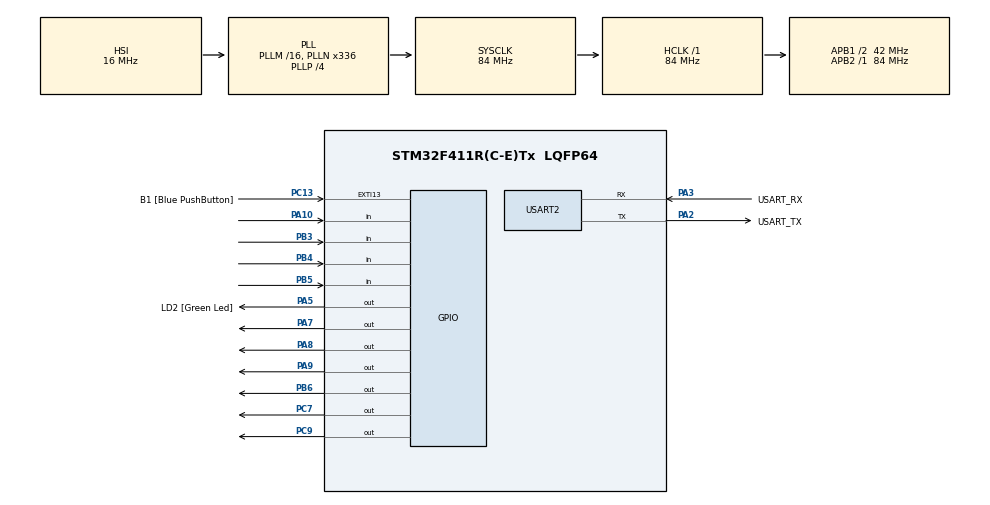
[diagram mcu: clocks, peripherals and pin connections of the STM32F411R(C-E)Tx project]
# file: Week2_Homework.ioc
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Mcu.Family=STM32F4
Mcu.Name=STM32F411R(C-E)Tx
Mcu.Package=LQFP64
NVIC.PriorityGroup=NVIC_PRIORITYGROUP_0
PA10.GPIO_PuPd=GPIO_PULLUP
PA10.Signal=GPIO_Input
PA13.GPIO_Label=TMS
PA13.Mode=Serial_Wire
PA13.Signal=SYS_JTMS-SWDIO
PA14.GPIO_Label=TCK
PA14.Mode=Serial_Wire
PA14.Signal=SYS_JTCK-SWCLK
PA2.GPIO_Label=USART_TX
PA2.Mode=Asynchronous
PA2.Signal=USART2_TX
PA3.GPIO_Label=USART_RX
PA3.Mode=Asynchronous
PA3.Signal=USART2_RX
PA5.GPIO_Label=LD2 [Green Led]
PA5.GPIO_ModeDefaultOutputPP=GPIO_MODE_OUTPUT_OD
PA5.PinState=GPIO_PIN_SET
PA5.Signal=GPIO_Output
PA7.GPIO_ModeDefaultOutputPP=GPIO_MODE_OUTPUT_OD
PA7.PinState=GPIO_PIN_SET
PA7.Signal=GPIO_Output
PA8.Signal=GPIO_Output
PA9.GPIO_ModeDefaultOutputPP=GPIO_MODE_OUTPUT_OD
PA9.PinState=GPIO_PIN_SET
PA9.Signal=GPIO_Output
PB3.GPIO_PuPd=GPIO_PULLUP
PB3.Signal=GPIO_Input
PB4.GPIO_PuPd=GPIO_PULLUP
PB4.Signal=GPIO_Input
PB5.GPIO_PuPd=GPIO_PULLUP
PB5.Signal=GPIO_Input
PB6.GPIO_ModeDefaultOutputPP=GPIO_MODE_OUTPUT_OD
PB6.PinState=GPIO_PIN_SET
PB6.Signal=GPIO_Output
PC13-ANTI_TAMP.GPIO_Label=B1 [Blue PushButton]
PC13-ANTI_TAMP.GPIO_ModeDefaultEXTI=GPIO_MODE_IT_FALLING
PC13-ANTI_TAMP.Signal=GPXTI13
PC14-OSC32_IN.Mode=LSE-External-Oscillator
PC14-OSC32_IN.Signal=RCC_OSC32_IN
PC15-OSC32_OUT.Mode=LSE-External-Oscillator
PC15-OSC32_OUT.Signal=RCC_OSC32_OUT
PC7.GPIO_ModeDefaultOutputPP=GPIO_MODE_OUTPUT_OD
PC7.PinState=GPIO_PIN_SET
PC7.Signal=GPIO_Output
PC9.Signal=GPIO_Output
PH0\ -\ OSC_IN.Mode=HSE-External-Clock-Source
PH0\ -\ OSC_IN.Signal=RCC_OSC_IN
PH1\ -\ OSC_OUT.Mode=HSE-External-Clock-Source
PH1\ -\ OSC_OUT.Signal=RCC_OSC_OUT
ProjectManager.HeapSize=0x200
ProjectManager.StackSize=0x400
ProjectManager.TargetToolchain=STM32CubeIDE
RCC.48MHZClocksFreq_Value=84000000
RCC.AHBFreq_Value=84000000
RCC.APB1CLKDivider=RCC_HCLK_DIV2
RCC.APB1Freq_Value=42000000
RCC.APB1TimFreq_Value=84000000
RCC.APB2Freq_Value=84000000
RCC.APB2TimFreq_Value=84000000
RCC.CortexFreq_Value=84000000
RCC.FLatency-AdvancedSettings=FLASH_LATENCY_2
RCC.HCLKFreq_Value=84000000
RCC.HSE_VALUE=8000000
RCC.HSI_VALUE=16000000
RCC.PLLN=336
RCC.PLLP=RCC_PLLP_DIV4
RCC.SYSCLKFreq_VALUE=84000000
RCC.SYSCLKSource=RCC_SYSCLKSOURCE_PLLCLK
RCC.VCOOutputFreq_Value=336000000
USART2.VirtualMode=VM_ASYNC
board=NUCLEO-F411RE

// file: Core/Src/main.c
/* USER CODE BEGIN Header */
/**
  ******************************************************************************
  * @file           : main.c
  * @brief          : Main program body
  ******************************************************************************
  * @attention
  *
  * <h2><center>&copy; Copyright (c) 2021 STMicroelectronics.
  * All rights reserved.</center></h2>
  *
  * This software component is licensed by ST under BSD 3-Clause license,
  * the "License"; You may not use this file except in compliance with the
  * License. You may obtain a copy of the License at:
  *                        opensource.org/licenses/BSD-3-Clause
  *
  ******************************************************************************
  */
/* USER CODE END Header */
#include "main.h"

UART_HandleTypeDef huart2;

/* USER CODE BEGIN PV */

uint16_t ButtonMatrixState = 0;
uint32_t ButtonMatrixTimeStamp = 0;
int a=0;
int count = 1;
uint64_t  ans = 0b0;

/* USER CODE END PV */

void SystemClock_Config(void);
static void MX_GPIO_Init(void);
static void MX_USART2_UART_Init(void);
/* USER CODE BEGIN PFP */
// scan and update data of button matrix
void ButtonMatrixUpdate(); //Scan and Update data of Button Matrix

/* USER CODE END PFP */

int main(void)
{

  /* MCU Configuration--------------------------------------------------------*/

  /* Reset of all peripherals, Initializes the Flash interface and the Systick. */
  HAL_Init();

  /* Configure the system clock */
  SystemClock_Config();

  /* Initialize all configured peripherals */
  MX_GPIO_Init();
  MX_USART2_UART_Init();
  /* USER CODE BEGIN 2 */
  //--------------------------------------------------------------------------------

  //--------------------------------------------------------------------------------
  /* USER CODE END 2 */

  /* Infinite loop */
  /* USER CODE BEGIN WHILE */

  //--------------------------------------------------------------------------------
  while (1)
  {
   ButtonMatrixUpdate();

  //--------------------------------------------------------------------------------
    /* USER CODE END WHILE */

  }
}

void SystemClock_Config(void)
{
  RCC_OscInitTypeDef RCC_OscInitStruct = {0};
  RCC_ClkInitTypeDef RCC_ClkInitStruct = {0};

  /** Configure the main internal regulator output voltage
  */
  __HAL_RCC_PWR_CLK_ENABLE();
  __HAL_PWR_VOLTAGESCALING_CONFIG(PWR_REGULATOR_VOLTAGE_SCALE1);
  /** Initializes the RCC Oscillators according to the specified parameters
  * in the RCC_OscInitTypeDef structure.
  */
  RCC_OscInitStruct.OscillatorType = RCC_OSCILLATORTYPE_HSI;
  RCC_OscInitStruct.HSIState = RCC_HSI_ON;
  RCC_OscInitStruct.HSICalibrationValue = RCC_HSICALIBRATION_DEFAULT;
  RCC_OscInitStruct.PLL.PLLState = RCC_PLL_ON;
  RCC_OscInitStruct.PLL.PLLSource = RCC_PLLSOURCE_HSI;
  RCC_OscInitStruct.PLL.PLLM = 16;
  RCC_OscInitStruct.PLL.PLLN = 336;
  RCC_OscInitStruct.PLL.PLLP = RCC_PLLP_DIV4;
  RCC_OscInitStruct.PLL.PLLQ = 4;
  if (HAL_RCC_OscConfig(&RCC_OscInitStruct) != HAL_OK)
  {
    Error_Handler();
  }
  /** Initializes the CPU, AHB and APB buses clocks
  */
  RCC_ClkInitStruct.ClockType = RCC_CLOCKTYPE_HCLK|RCC_CLOCKTYPE_SYSCLK
                              |RCC_CLOCKTYPE_PCLK1|RCC_CLOCKTYPE_PCLK2;
  RCC_ClkInitStruct.SYSCLKSource = RCC_SYSCLKSOURCE_PLLCLK;
  RCC_ClkInitStruct.AHBCLKDivider = RCC_SYSCLK_DIV1;
  RCC_ClkInitStruct.APB1CLKDivider = RCC_HCLK_DIV2;
  RCC_ClkInitStruct.APB2CLKDivider = RCC_HCLK_DIV1;

  if (HAL_RCC_ClockConfig(&RCC_ClkInitStruct, FLASH_LATENCY_2) != HAL_OK)
  {
    Error_Handler();
  }
}

static void MX_USART2_UART_Init(void)
{

  huart2.Instance = USART2;
  huart2.Init.BaudRate = 115200;
  huart2.Init.WordLength = UART_WORDLENGTH_8B;
  huart2.Init.StopBits = UART_STOPBITS_1;
  huart2.Init.Parity = UART_PARITY_NONE;
  huart2.Init.Mode = UART_MODE_TX_RX;
  huart2.Init.HwFlowCtl = UART_HWCONTROL_NONE;
  huart2.Init.OverSampling = UART_OVERSAMPLING_16;
  if (HAL_UART_Init(&huart2) != HAL_OK)
  {
    Error_Handler();
  }

}

static void MX_GPIO_Init(void)
{
  GPIO_InitTypeDef GPIO_InitStruct = {0};

  /* GPIO Ports Clock Enable */
  __HAL_RCC_GPIOC_CLK_ENABLE();
  __HAL_RCC_GPIOH_CLK_ENABLE();
  __HAL_RCC_GPIOA_CLK_ENABLE();
  __HAL_RCC_GPIOB_CLK_ENABLE();

  /*Configure GPIO pin Output Level */
  HAL_GPIO_WritePin(GPIOA, LD2_Pin|GPIO_PIN_7|GPIO_PIN_9, GPIO_PIN_SET);

  /*Configure GPIO pin Output Level */
  HAL_GPIO_WritePin(GPIOC, GPIO_PIN_7, GPIO_PIN_SET);

  /*Configure GPIO pin Output Level */
  HAL_GPIO_WritePin(GPIOC, GPIO_PIN_9, GPIO_PIN_RESET);

  /*Configure GPIO pin Output Level */
  HAL_GPIO_WritePin(GPIOA, GPIO_PIN_8, GPIO_PIN_RESET);

  /*Configure GPIO pin Output Level */
  HAL_GPIO_WritePin(GPIOB, GPIO_PIN_6, GPIO_PIN_SET);

  /*Configure GPIO pin : B1_Pin */
  GPIO_InitStruct.Pin = B1_Pin;
  GPIO_InitStruct.Mode = GPIO_MODE_IT_FALLING;
  GPIO_InitStruct.Pull = GPIO_NOPULL;
  HAL_GPIO_Init(B1_GPIO_Port, &GPIO_InitStruct);

  /*Configure GPIO pins : LD2_Pin PA7 PA9 */
  GPIO_InitStruct.Pin = LD2_Pin|GPIO_PIN_7|GPIO_PIN_9;
  GPIO_InitStruct.Mode = GPIO_MODE_OUTPUT_OD;
  GPIO_InitStruct.Pull = GPIO_NOPULL;
  GPIO_InitStruct.Speed = GPIO_SPEED_FREQ_LOW;
  HAL_GPIO_Init(GPIOA, &GPIO_InitStruct);

  /*Configure GPIO pin : PC7 */
  GPIO_InitStruct.Pin = GPIO_PIN_7;
  GPIO_InitStruct.Mode = GPIO_MODE_OUTPUT_OD;
  GPIO_InitStruct.Pull = GPIO_NOPULL;
  GPIO_InitStruct.Speed = GPIO_SPEED_FREQ_LOW;
  HAL_GPIO_Init(GPIOC, &GPIO_InitStruct);

  /*Configure GPIO pin : PC9 */
  GPIO_InitStruct.Pin = GPIO_PIN_9;
  GPIO_InitStruct.Mode = GPIO_MODE_OUTPUT_PP;
  GPIO_InitStruct.Pull = GPIO_NOPULL;
  GPIO_InitStruct.Speed = GPIO_SPEED_FREQ_LOW;
  HAL_GPIO_Init(GPIOC, &GPIO_InitStruct);

  /*Configure GPIO pin : PA8 */
  GPIO_InitStruct.Pin = GPIO_PIN_8;
  GPIO_InitStruct.Mode = GPIO_MODE_OUTPUT_PP;
  GPIO_InitStruct.Pull = GPIO_NOPULL;
  GPIO_InitStruct.Speed = GPIO_SPEED_FREQ_LOW;
  HAL_GPIO_Init(GPIOA, &GPIO_InitStruct);

  /*Configure GPIO pin : PA10 */
  GPIO_InitStruct.Pin = GPIO_PIN_10;
  GPIO_InitStruct.Mode = GPIO_MODE_INPUT;
  GPIO_InitStruct.Pull = GPIO_PULLUP;
  HAL_GPIO_Init(GPIOA, &GPIO_InitStruct);

  /*Configure GPIO pins : PB3 PB4 PB5 */
  GPIO_InitStruct.Pin = GPIO_PIN_3|GPIO_PIN_4|GPIO_PIN_5;
  GPIO_InitStruct.Mode = GPIO_MODE_INPUT;
  GPIO_InitStruct.Pull = GPIO_PULLUP;
  HAL_GPIO_Init(GPIOB, &GPIO_InitStruct);

  /*Configure GPIO pin : PB6 */
  GPIO_InitStruct.Pin = GPIO_PIN_6;
  GPIO_InitStruct.Mode = GPIO_MODE_OUTPUT_OD;
  GPIO_InitStruct.Pull = GPIO_NOPULL;
  GPIO_InitStruct.Speed = GPIO_SPEED_FREQ_LOW;
  HAL_GPIO_Init(GPIOB, &GPIO_InitStruct);

}

/* USER CODE BEGIN 4 */
//Function Implementation
// port input output
GPIO_TypeDef* ButtonMatrixPort[8] = {GPIOA,       GPIOB,      GPIOB,      GPIOB,             GPIOA,      GPIOC,      GPIOB,      GPIOA     };
uint16_t      ButtonMatrixPin [8] = {GPIO_PIN_10, GPIO_PIN_3, GPIO_PIN_5, GPIO_PIN_4,        GPIO_PIN_9, GPIO_PIN_7, GPIO_PIN_6, GPIO_PIN_7};
uint8_t       ButtonMatrixLine    = 0;

void ButtonMatrixUpdate()
{

 if(HAL_GetTick() - ButtonMatrixTimeStamp >= 100)
 {
  ButtonMatrixTimeStamp = HAL_GetTick();
  for(int i = 0; i < 4; i++)
  {
   GPIO_PinState PinState = HAL_GPIO_ReadPin(ButtonMatrixPort[i], ButtonMatrixPin[i]);
   if(PinState == GPIO_PIN_RESET) // Button is Pressed
   {
    ButtonMatrixState |= (uint16_t)1 << (i + ButtonMatrixLine * 4);

   }
   else
   {
    ButtonMatrixState &= ~((uint16_t)1 << (i + ButtonMatrixLine * 4));

   }
  }
  uint8_t NowOutputPin = ButtonMatrixLine + 4;
  HAL_GPIO_WritePin(ButtonMatrixPort[NowOutputPin], ButtonMatrixPin[NowOutputPin], GPIO_PIN_SET);

  ButtonMatrixLine = (ButtonMatrixLine + 1) % 4;

  uint8_t NextOutputPin = ButtonMatrixLine + 4;
  HAL_GPIO_WritePin(ButtonMatrixPort[NextOutputPin], ButtonMatrixPin[NextOutputPin], GPIO_PIN_RESET);

  if (ButtonMatrixState == 64 && count == 1 && ButtonMatrixState != 0)
  {
	  ans =(((uint64_t)ans << 11)||0b10000000000);
	  count +=1;

  }
  else if (ButtonMatrixState == 512 && count ==2 && ButtonMatrixState != 0)
    {
	  ans =((uint64_t)ans )||0b11000000000;
	  count +=1;
	  a=1;
    }
  else if (ButtonMatrixState == 1024 && count ==3 && ButtonMatrixState  != 0)
     {
 	  ans =(((uint64_t)ans )||0b11100000000);
 	 count +=1;
     }
  else if (ButtonMatrixState == 16 && count ==4 && ButtonMatrixState  != 0)
       {
   	  ans =((uint64_t)ans )||0b11110000000;
   	count +=1;
       }
  else if (ButtonMatrixState == 4096 && count ==5 && ButtonMatrixState  != 0)
         {
     	  ans =((uint64_t)ans )||0b11111000000;
     	 count +=1;
         }
  else if (ButtonMatrixState == 32 && count ==6 && ButtonMatrixState  != 0)
           {
       	  ans =((uint64_t)ans)||0b11111100000;
       	count +=1;
           }
  else if (ButtonMatrixState == 4096 && count ==7 &&ButtonMatrixState  != 0)
           {
       	  ans =((uint64_t)ans )||0b11111110000;
       	count +=1;
           }
  else if (ButtonMatrixState == 4096 && count ==8 && ButtonMatrixState  != 0)
            {
        	  ans =((uint64_t)ans )||0b11111111000;
        	  count +=1;
            }
  else if (ButtonMatrixState == 4096 && count ==9 && ButtonMatrixState  != 0)
             {
         	  ans =((uint64_t)ans )||0b11111111100;
         	 count +=1;
             }
  else if (ButtonMatrixState == 1024 && count ==10 && ButtonMatrixState  != 0)
      {
  	  ans =(((uint64_t)ans )||0b11111111110);
  	 count +=1;
      }

  else if (ButtonMatrixState == 1 && count ==11 && ButtonMatrixState  != 0)
               {
           	  ans =((uint64_t)ans )||0b11111111111;
               }

  else if (ans == 0b11111111111  && ButtonMatrixState ==32768 && ButtonMatrixState  != 0 )
  {
	  HAL_GPIO_WritePin(GPIOC, GPIO_PIN_9, GPIO_PIN_RESET);

  }
  else if (ButtonMatrixState == 8 && ButtonMatrixState  != 0)
                 {
             	  ans =0b0;
             	  count=1;
                 }
  else if(ButtonMatrixState  != 0 && ButtonMatrixState  != 64 && ButtonMatrixState  != 512 && ButtonMatrixState  != 1024 && ButtonMatrixState  != 4096 && ButtonMatrixState  != 16 &&  ButtonMatrixState  != 1 && ButtonMatrixState  != 8)
   {
 	  ans=555;

   }
  }

 }

/* USER CODE END 4 */

void Error_Handler(void)
{
  __disable_irq();
  while (1)
  {
  }
}

/************************ (C) COPYRIGHT STMicroelectronics *****END OF FILE****/
